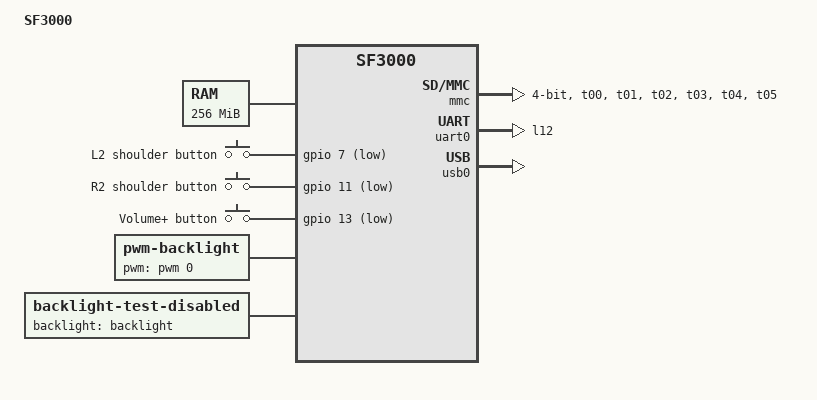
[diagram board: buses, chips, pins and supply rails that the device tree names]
// SPDX-License-Identifier: GPL-2.0
/dts-v1/;

#include "hc16xx.dtsi"

#include <dt-bindings/gpio/gpio.h>
#include <dt-bindings/input/input.h>

/ {
	compatible = "datafrog,sf3000", "noname,sf3000";
	model = "SF3000";

	aliases {
		serial0 = &uart0;
	};

	chosen {
		bootargs = "console=ttyS0,115200 earlycon root=/dev/mmcblk0p1 rw rootwait init=/mininit-syspart mem=192M";
		stdout-path = "serial0:115200n8";
	};

	memory {
		device_type = "memory";
		reg = <0x0 0x10000000>;
	};

	gpio-keys {
		compatible = "gpio-keys";
		autorepeat;

		key-l2 {
			label = "L2 shoulder button";
			linux,code = <KEY_PAGEUP>;
			gpios = <&gpio 7 GPIO_ACTIVE_LOW>;
		};
		key-r2 {
			label = "R2 shoulder button";
			linux,code = <KEY_PAGEDOWN>;
			gpios = <&gpio 11 GPIO_ACTIVE_LOW>;
		};
#if 0
		key-voldn {
			label = "Volume- button";
			linux,code = <KEY_VOLUMEDOWN>;
			gpios = <&gpio 12 GPIO_ACTIVE_LOW>;
		};
#endif
		key-volup {
			label = "Volume+ button";
			linux,code = <KEY_VOLUMEUP>;
			gpios = <&gpio 13 GPIO_ACTIVE_LOW>;
		};
	};

	serializer-keys {
		compatible = "gpio-serializer-keys";
		#address-cells = <1>;
		#size-cells = <0>;

		clock-gpios = <&gpio 8 GPIO_ACTIVE_LOW>;
		data-gpios  = <&gpio 9 (GPIO_ACTIVE_LOW | GPIO_OPEN_DRAIN)>;
		num-clocks  = <12>;

		autorepeat;
		poll-interval = <16>;

		key-l1 {
			reg = <0>;
			linux,code = <KEY_TAB>;
		};
		key-x {
			reg = <1>;
			linux,code = <KEY_SPACE>;
		};
		key-y {
			reg = <2>;
			linux,code = <KEY_LEFTSHIFT>;
		};
		key-r1 {
			reg = <3>;
			linux,code = <KEY_BACKSPACE>;
		};
		key-b {
			reg = <4>;
			linux,code = <KEY_LEFTALT>;
		};
		key-a {
			reg = <5>;
			linux,code = <KEY_LEFTCTRL>;
		};
		key-select {
			reg = <6>;
			linux,code = <KEY_ESC>;
		};
		key-start {
			reg = <7>;
			linux,code = <KEY_ENTER>;
		};
		key-up {
			reg = <8>;
			linux,code = <KEY_UP>;
		};
		key-down {
			reg = <9>;
			linux,code = <KEY_DOWN>;
		};
		key-left {
			reg = <10>;
			linux,code = <KEY_LEFT>;
		};
		key-right {
			reg = <11>;
			linux,code = <KEY_RIGHT>;
		};
	};

	backlight: backlight {
		compatible = "pwm-backlight";
		pwms = <&pwm 0 20000 0>;

		pinctrl-0 = <&backlight_pins>;
		pinctrl-names = "default";

		brightness-levels = <0 10 20 30 40 50 60 70 80 90 100>;
		default-brightness-level = <0>;
	};

	backlight-test {
		compatible = "backlight-test-disabled";
		backlight = <&backlight>;
	};
};

&mmc {
	pinctrl-0 = <&sdmmc_pins>;
	pinctrl-names = "default";
	status = "okay";

	bus-width = <4>;

	no-1-8-v;
	max-frequency = <25000000>;

	broken-cd;
	card-detect-delay = <200>;
};

&pinctrl {
	uart0_pins: pins-uart0 {
		function = "uart0";
		pins = "l12";
		drive-strength = <2>;
	};

	backlight_pins: pins-bl {
		function = "pwm0";
		pins = "l00";
		drive-strength = <1>;
	};

	sdmmc_pins: pins-sdmmc {
		function = "sdmmc";
		pins = "t00", "t01", "t02", "t03", "t04", "t05";
		drive-strength = <16>;
	};
};

&uart0 {
	pinctrl-0 = <&uart0_pins>;
	pinctrl-names = "default";

	status = "okay";
};

&usb0 {
	status = "okay";
};
